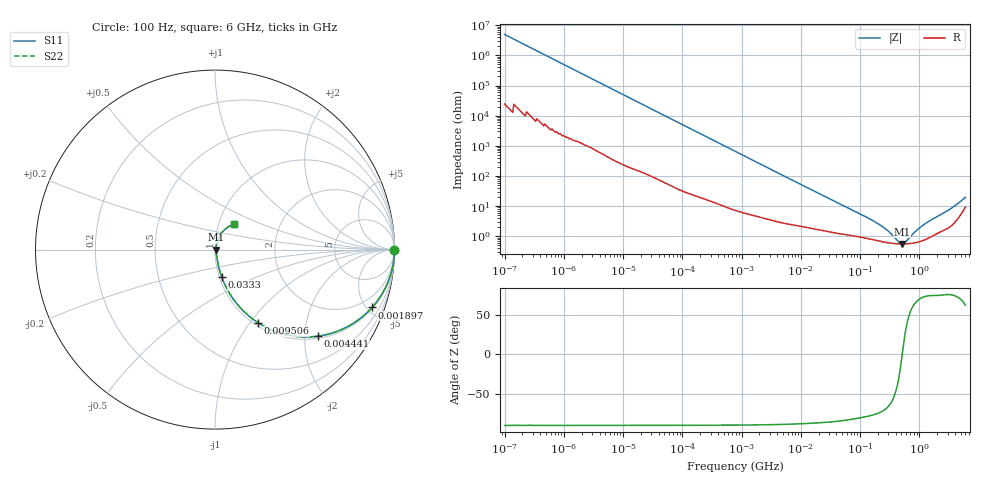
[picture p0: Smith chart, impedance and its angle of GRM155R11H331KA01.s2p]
!Murata Part Number: GRM155R11H331KA01
!These Parameters are Measured in Series Mode Connection
!Data Generated on Mar 30, 2021
!  o--ll--o
!Port1  Port2
!  o------o
!Operation Temp=25[degC], DC Bias Voltage=0[V]
!Freq. Start=100[Hz] Stop=6[GHz] 401[Steps]
# Hz S RI R 50
!Freq.(Hz) S11(Real) S11(Imag) S21(Real) S21(Imag) S12(Real) S12(Imag) S22(Real) S22(Imag)
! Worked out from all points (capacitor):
!   401 points, 100 Hz to 6 GHz, reference 50 ohm
!   read as one part in series: C = 322 pF near 109 Hz
!   lowest |Z| = 553 mohm at 511.3 MHz (marker M1)
!   series resonance near 515.3 MHz, so ESL is about 300 pH
!   S11 on the Smith chart (normalised r, x): 100 Hz: open; 1.897 MHz: 1.09, -5.40; 4.441 MHz: 1.06, -2.32; 9.506 MHz: 1.04, -1.09; 33.3 MHz: 1.03, -0.32; 6 GHz: 1.19, +0.35
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100  1 -2.02e-05  1e-07 2.02e-05  1e-07 2.02e-05  1 -2.02e-05
501  1 -0.000101  5e-07 0.000101  5e-07 0.000101  1 -0.000101
2008  1 -0.000403  2.1e-06 0.000403  2.1e-06 0.000403  1 -0.000403
40335  0.9999 -0.00802  0.000112 0.00802  0.000112 0.00802  0.9999 -0.00802
241822  0.9973 -0.0476  0.00266 0.0476  0.00266 0.0476  0.9973 -0.0476
774597  0.9758 -0.1482  0.0242 0.1482  0.0242 0.1482  0.9758 -0.1482
1896632  0.8754 -0.3222  0.1246 0.3222  0.1246 0.3222  0.8754 -0.3222
2837864  0.7619 -0.4162  0.2381 0.4162  0.2381 0.4162  0.7619 -0.4162
4440638  0.5726 -0.4825  0.4274 0.4825  0.4274 0.4825  0.5726 -0.4825
6353432  0.402 -0.4753  0.598 0.4753  0.598 0.4753  0.402 -0.4753
9506416  0.2394 -0.4075  0.7606 0.4075  0.7606 0.4075  0.2394 -0.4075
1.555665e7  0.1149 -0.2934  0.8851 0.2934  0.8851 0.2934  0.1149 -0.2934
3.330331e7  0.0372 -0.1522  0.9628 0.1522  0.9628 0.1522  0.0372 -0.1522
1.596157e8  0.00871 -0.0325  0.9913 0.0325  0.9913 0.0325  0.00871 -0.0325
3.124326e8  0.00606 -0.0121  0.9939 0.0121  0.9939 0.0121  0.00606 -0.0121
4.470121e8  0.00554 -0.00337  0.9945 0.00337  0.9945 0.00337  0.00554 -0.00337
5.112761e8  0.0055 -0.000182  0.9945 0.000182  0.9945 0.000182  0.0055 -0.000182
5.847788e8  0.00553 0.00302  0.9945 -0.00302  0.9945 -0.00302  0.00553 0.00302
8.366708e8  0.00611 0.0121  0.9939 -0.0121  0.9939 -0.0121  0.00611 0.0121
1.197065e9  0.00781 0.0226  0.9922 -0.0226  0.9922 -0.0226  0.00781 0.0226
3.505958e9  0.0283 0.0786  0.9717 -0.0786  0.9717 -0.0786  0.0283 0.0786
6e9  0.1072 0.1409  0.8928 -0.1409  0.8928 -0.1409  0.1072 0.1409
